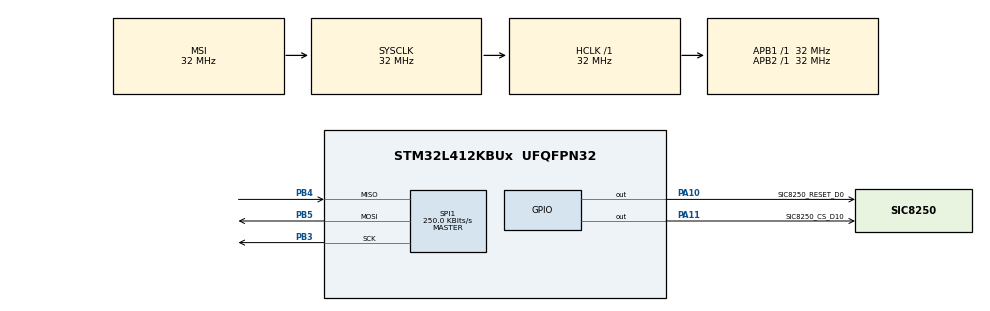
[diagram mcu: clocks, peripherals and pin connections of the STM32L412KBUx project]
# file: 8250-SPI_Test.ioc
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Mcu.Family=STM32L4
Mcu.Name=STM32L412KBUx
Mcu.Package=UFQFPN32
NVIC.PriorityGroup=NVIC_PRIORITYGROUP_4
PA10.GPIO_Label=SIC8250_RESET_D0
PA10.Signal=GPIO_Output
PA11.GPIO_Label=SIC8250_CS_D10
PA11.Signal=GPIO_Output
PA13\ (JTMS/SWDIO).GPIO_Label=SWDIO
PA13\ (JTMS/SWDIO).Mode=Serial_Wire
PA13\ (JTMS/SWDIO).Signal=SYS_JTMS-SWDIO
PA14\ (JTCK/SWCLK).GPIO_Label=SWCLK
PA14\ (JTCK/SWCLK).Mode=Serial_Wire
PA14\ (JTCK/SWCLK).Signal=SYS_JTCK-SWCLK
PB3\ (JTDO/TRACESWO).Mode=Full_Duplex_Master
PB3\ (JTDO/TRACESWO).Signal=SPI1_SCK
PB4\ (NJTRST).Mode=Full_Duplex_Master
PB4\ (NJTRST).Signal=SPI1_MISO
PB5.Mode=Full_Duplex_Master
PB5.Signal=SPI1_MOSI
ProjectManager.HeapSize=0x200
ProjectManager.StackSize=0x400
ProjectManager.TargetToolchain=STM32CubeIDE
RCC.ADCFreq_Value=32000000
RCC.AHBFreq_Value=32000000
RCC.APB1Freq_Value=32000000
RCC.APB1TimFreq_Value=32000000
RCC.APB2Freq_Value=32000000
RCC.APB2TimFreq_Value=32000000
RCC.CortexFreq_Value=32000000
RCC.FLatency=FLASH_LATENCY_1
RCC.HCLKFreq_Value=32000000
RCC.HSE_VALUE=8000000
RCC.HSI48_VALUE=48000000
RCC.HSICalibrationValue=64
RCC.HSI_VALUE=16000000
RCC.LSE_VALUE=32768
RCC.MSIClockRange=RCC_MSIRANGE_10
RCC.MSI_VALUE=32000000
RCC.SYSCLKFreq_VALUE=32000000
RCC.USBFreq_Value=32000000
RCC.VCOOutputFreq_Value=256000000
SPI1.BaudRatePrescaler=SPI_BAUDRATEPRESCALER_128
SPI1.CalculateBaudRate=250.0 KBits/s
SPI1.DataSize=SPI_DATASIZE_8BIT
SPI1.Direction=SPI_DIRECTION_2LINES
SPI1.Mode=SPI_MODE_MASTER
SPI1.NSSPMode=SPI_NSS_PULSE_DISABLE
SPI1.VirtualType=VM_MASTER
board=NUCLEO-L412KB

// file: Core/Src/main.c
/* USER CODE BEGIN Header */
/**
  ******************************************************************************
  * @file           : main.c
  * @brief          : Main program body
  ******************************************************************************
  * @attention
  *
  * Copyright (c) 2026 STMicroelectronics.
  * All rights reserved.
  *
  * This software is licensed under terms that can be found in the LICENSE file
  * in the root directory of this software component.
  * If no LICENSE file comes with this software, it is provided AS-IS.
  *
  ******************************************************************************
  */
/* USER CODE END Header */
#include "main.h"
#include "spi.h"
#include "gpio.h"

/* USER CODE BEGIN Includes */
#include "sic8250.h"
/* USER CODE END Includes */

/* USER CODE BEGIN PTD */
typedef enum
{
  SIC8250_COMMAND_NONE = 0,
  SIC8250_COMMAND_SFR_READ = 1,
  SIC8250_COMMAND_SFR_WRITE = 2,
  SIC8250_COMMAND_TCFG_READ = 3,
  SIC8250_COMMAND_TCFG_WRITE = 4
} SIC8250_Command;
/* USER CODE END PTD */

/* USER CODE BEGIN PV */
SIC8250_Handle hsic8250;
volatile SIC8250_Status g_sic8250_status = SIC8250_ERROR_ARGUMENT;
volatile SIC8250_Command g_sic8250_command = SIC8250_COMMAND_NONE;
volatile uint8_t g_sic8250_address = 0U;
volatile uint8_t g_sic8250_value = 0U;
/* USER CODE END PV */

void SystemClock_Config(void);

int main(void)
{

  /* USER CODE BEGIN 1 */
  uint8_t read_value = 0U;
  /* USER CODE END 1 */

  /* MCU Configuration--------------------------------------------------------*/

  /* Reset of all peripherals, Initializes the Flash interface and the Systick. */
  HAL_Init();

  /* Configure the system clock */
  SystemClock_Config();

  /* Initialize all configured peripherals */
  MX_GPIO_Init();
  MX_SPI1_Init();
  /* USER CODE BEGIN 2 */
  g_sic8250_status = SIC8250_Init(&hsic8250,&hspi1,SIC8250_CS_D10_GPIO_Port,SIC8250_CS_D10_Pin,SIC8250_RESET_D0_GPIO_Port,SIC8250_RESET_D0_Pin,50U);
  if (g_sic8250_status == SIC8250_OK)
  {
    SIC8250_ResetPulse(&hsic8250, 10U, 10U);
  }
  /* USER CODE END 2 */

  /* Infinite loop */
  while (1)
  {

    /* USER CODE BEGIN 3 */
    switch (g_sic8250_command)
    {
      case SIC8250_COMMAND_SFR_READ:
        g_sic8250_status = SIC8250_SFR_Read(&hsic8250,
                                            g_sic8250_address,
                                            &read_value);
        if (g_sic8250_status == SIC8250_OK)
        {
          g_sic8250_value = read_value;
        }
        break;

      case SIC8250_COMMAND_SFR_WRITE:
        g_sic8250_status = SIC8250_SFR_Write(&hsic8250,
                                             g_sic8250_address,
                                             g_sic8250_value);
        break;

      case SIC8250_COMMAND_TCFG_READ:
        g_sic8250_status = SIC8250_TCFG_Read(&hsic8250,
                                             g_sic8250_address,
                                             &read_value);
        if (g_sic8250_status == SIC8250_OK)
        {
          g_sic8250_value = read_value;
        }
        break;

      case SIC8250_COMMAND_TCFG_WRITE:
        g_sic8250_status = SIC8250_TCFG_Write(&hsic8250,
                                              g_sic8250_address,
                                              g_sic8250_value);
        break;

      default:
        continue;
    }
    g_sic8250_command = SIC8250_COMMAND_NONE;
  }
  /* USER CODE END 3 */
}

void SystemClock_Config(void)
{
  RCC_OscInitTypeDef RCC_OscInitStruct = {0};
  RCC_ClkInitTypeDef RCC_ClkInitStruct = {0};

  /** Configure the main internal regulator output voltage
  */
  if (HAL_PWREx_ControlVoltageScaling(PWR_REGULATOR_VOLTAGE_SCALE1) != HAL_OK)
  {
    Error_Handler();
  }

  /** Initializes the RCC Oscillators according to the specified parameters
  * in the RCC_OscInitTypeDef structure.
  */
  RCC_OscInitStruct.OscillatorType = RCC_OSCILLATORTYPE_MSI;
  RCC_OscInitStruct.MSIState = RCC_MSI_ON;
  RCC_OscInitStruct.MSICalibrationValue = 0;
  RCC_OscInitStruct.MSIClockRange = RCC_MSIRANGE_10;
  RCC_OscInitStruct.PLL.PLLState = RCC_PLL_NONE;
  if (HAL_RCC_OscConfig(&RCC_OscInitStruct) != HAL_OK)
  {
    Error_Handler();
  }

  /** Initializes the CPU, AHB and APB buses clocks
  */
  RCC_ClkInitStruct.ClockType = RCC_CLOCKTYPE_HCLK|RCC_CLOCKTYPE_SYSCLK
                              |RCC_CLOCKTYPE_PCLK1|RCC_CLOCKTYPE_PCLK2;
  RCC_ClkInitStruct.SYSCLKSource = RCC_SYSCLKSOURCE_MSI;
  RCC_ClkInitStruct.AHBCLKDivider = RCC_SYSCLK_DIV1;
  RCC_ClkInitStruct.APB1CLKDivider = RCC_HCLK_DIV1;
  RCC_ClkInitStruct.APB2CLKDivider = RCC_HCLK_DIV1;

  if (HAL_RCC_ClockConfig(&RCC_ClkInitStruct, FLASH_LATENCY_1) != HAL_OK)
  {
    Error_Handler();
  }
}

void Error_Handler(void)
{
  __disable_irq();
  while (1)
  {
  }
}
